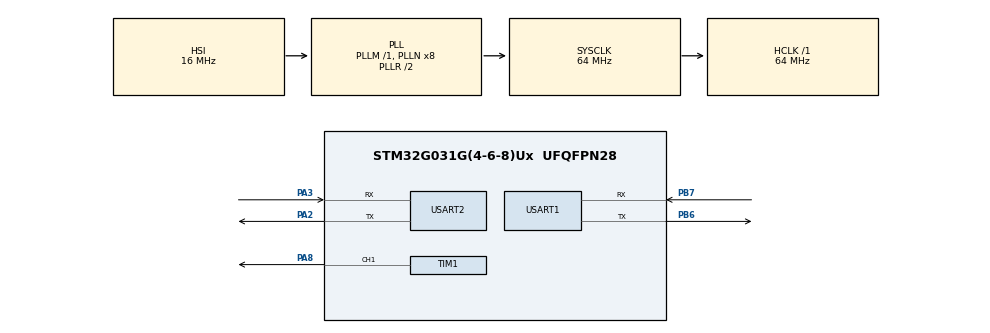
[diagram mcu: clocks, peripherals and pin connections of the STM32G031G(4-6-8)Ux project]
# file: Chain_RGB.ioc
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Dma.Request0=USART1_RX
Dma.Request1=USART1_TX
Dma.Request2=USART2_RX
Dma.Request3=USART2_TX
Dma.Request4=TIM1_CH1
Dma.TIM1_CH1.4.Direction=DMA_MEMORY_TO_PERIPH
Dma.TIM1_CH1.4.EventEnable=DISABLE
Dma.TIM1_CH1.4.Instance=DMA1_Channel5
Dma.TIM1_CH1.4.MemDataAlignment=DMA_MDATAALIGN_BYTE
Dma.TIM1_CH1.4.MemInc=DMA_MINC_ENABLE
Dma.TIM1_CH1.4.Mode=DMA_NORMAL
Dma.TIM1_CH1.4.PeriphDataAlignment=DMA_PDATAALIGN_HALFWORD
Dma.TIM1_CH1.4.PeriphInc=DMA_PINC_DISABLE
Dma.TIM1_CH1.4.Polarity=HAL_DMAMUX_REQ_GEN_RISING
Dma.TIM1_CH1.4.Priority=DMA_PRIORITY_LOW
Dma.TIM1_CH1.4.RequestNumber=1
Dma.TIM1_CH1.4.SignalID=NONE
Dma.TIM1_CH1.4.SyncEnable=DISABLE
Dma.TIM1_CH1.4.SyncPolarity=HAL_DMAMUX_SYNC_NO_EVENT
Dma.TIM1_CH1.4.SyncRequestNumber=1
Dma.TIM1_CH1.4.SyncSignalID=NONE
Dma.USART1_RX.0.Direction=DMA_PERIPH_TO_MEMORY
Dma.USART1_RX.0.EventEnable=DISABLE
Dma.USART1_RX.0.Instance=DMA1_Channel1
Dma.USART1_RX.0.MemDataAlignment=DMA_MDATAALIGN_BYTE
Dma.USART1_RX.0.MemInc=DMA_MINC_ENABLE
Dma.USART1_RX.0.Mode=DMA_NORMAL
Dma.USART1_RX.0.PeriphDataAlignment=DMA_PDATAALIGN_BYTE
Dma.USART1_RX.0.PeriphInc=DMA_PINC_DISABLE
Dma.USART1_RX.0.Polarity=HAL_DMAMUX_REQ_GEN_RISING
Dma.USART1_RX.0.Priority=DMA_PRIORITY_LOW
Dma.USART1_RX.0.RequestNumber=1
Dma.USART1_RX.0.SignalID=NONE
Dma.USART1_RX.0.SyncEnable=DISABLE
Dma.USART1_RX.0.SyncPolarity=HAL_DMAMUX_SYNC_NO_EVENT
Dma.USART1_RX.0.SyncRequestNumber=1
Dma.USART1_RX.0.SyncSignalID=NONE
Dma.USART1_TX.1.Direction=DMA_MEMORY_TO_PERIPH
Dma.USART1_TX.1.EventEnable=DISABLE
Dma.USART1_TX.1.Instance=DMA1_Channel2
Dma.USART1_TX.1.MemDataAlignment=DMA_MDATAALIGN_BYTE
Dma.USART1_TX.1.MemInc=DMA_MINC_ENABLE
Dma.USART1_TX.1.Mode=DMA_NORMAL
Dma.USART1_TX.1.PeriphDataAlignment=DMA_PDATAALIGN_BYTE
Dma.USART1_TX.1.PeriphInc=DMA_PINC_DISABLE
Dma.USART1_TX.1.Polarity=HAL_DMAMUX_REQ_GEN_RISING
Dma.USART1_TX.1.Priority=DMA_PRIORITY_LOW
Dma.USART1_TX.1.RequestNumber=1
Dma.USART1_TX.1.SignalID=NONE
Dma.USART1_TX.1.SyncEnable=DISABLE
Dma.USART1_TX.1.SyncPolarity=HAL_DMAMUX_SYNC_NO_EVENT
Dma.USART1_TX.1.SyncRequestNumber=1
Dma.USART1_TX.1.SyncSignalID=NONE
Dma.USART2_RX.2.Direction=DMA_PERIPH_TO_MEMORY
Dma.USART2_RX.2.EventEnable=DISABLE
Dma.USART2_RX.2.Instance=DMA1_Channel3
Dma.USART2_RX.2.MemDataAlignment=DMA_MDATAALIGN_BYTE
Dma.USART2_RX.2.MemInc=DMA_MINC_ENABLE
Dma.USART2_RX.2.Mode=DMA_NORMAL
Dma.USART2_RX.2.PeriphDataAlignment=DMA_PDATAALIGN_BYTE
Dma.USART2_RX.2.PeriphInc=DMA_PINC_DISABLE
Dma.USART2_RX.2.Polarity=HAL_DMAMUX_REQ_GEN_RISING
Dma.USART2_RX.2.Priority=DMA_PRIORITY_LOW
Dma.USART2_RX.2.RequestNumber=1
Dma.USART2_RX.2.SignalID=NONE
Dma.USART2_RX.2.SyncEnable=DISABLE
Dma.USART2_RX.2.SyncPolarity=HAL_DMAMUX_SYNC_NO_EVENT
Dma.USART2_RX.2.SyncRequestNumber=1
Dma.USART2_RX.2.SyncSignalID=NONE
Dma.USART2_TX.3.Direction=DMA_MEMORY_TO_PERIPH
Dma.USART2_TX.3.EventEnable=DISABLE
Dma.USART2_TX.3.Instance=DMA1_Channel4
Dma.USART2_TX.3.MemDataAlignment=DMA_MDATAALIGN_BYTE
Dma.USART2_TX.3.MemInc=DMA_MINC_ENABLE
Dma.USART2_TX.3.Mode=DMA_NORMAL
Dma.USART2_TX.3.PeriphDataAlignment=DMA_PDATAALIGN_BYTE
Dma.USART2_TX.3.PeriphInc=DMA_PINC_DISABLE
Dma.USART2_TX.3.Polarity=HAL_DMAMUX_REQ_GEN_RISING
Dma.USART2_TX.3.Priority=DMA_PRIORITY_LOW
Dma.USART2_TX.3.RequestNumber=1
Dma.USART2_TX.3.SignalID=NONE
Dma.USART2_TX.3.SyncEnable=DISABLE
Dma.USART2_TX.3.SyncPolarity=HAL_DMAMUX_SYNC_NO_EVENT
Dma.USART2_TX.3.SyncRequestNumber=1
Dma.USART2_TX.3.SyncSignalID=NONE
IWDG.Prescaler=IWDG_PRESCALER_16
Mcu.Family=STM32G0
Mcu.Name=STM32G031G(4-6-8)Ux
Mcu.Package=UFQFPN28
NVIC.DMA1_Ch4_5_DMAMUX1_OVR_IRQn=true\:1\:0\:true\:false\:true\:false\:true\:true
NVIC.DMA1_Channel1_IRQn=true\:1\:0\:true\:false\:true\:false\:true\:true
NVIC.DMA1_Channel2_3_IRQn=true\:1\:0\:true\:false\:true\:false\:true\:true
NVIC.FLASH_IRQn=true\:1\:0\:true\:false\:true\:true\:true\:true
NVIC.TIM14_IRQn=true\:1\:0\:true\:false\:true\:true\:true\:true
NVIC.TIM16_IRQn=true\:1\:0\:true\:false\:true\:true\:true\:true
NVIC.TIM17_IRQn=true\:1\:0\:true\:false\:true\:true\:true\:true
NVIC.USART1_IRQn=true\:0\:0\:false\:false\:true\:false\:true\:true
NVIC.USART2_IRQn=true\:0\:0\:false\:false\:true\:false\:true\:true
PA2.GPIO_PuPd=GPIO_PULLUP
PA2.GPIO_Speed=GPIO_SPEED_FREQ_HIGH
PA2.Mode=Asynchronous
PA2.PinState=GPIO_PIN_RESET
PA2.Signal=USART2_TX
PA3.GPIO_PuPd=GPIO_PULLUP
PA3.GPIO_Speed=GPIO_SPEED_FREQ_HIGH
PA3.Mode=Asynchronous
PA3.PinState=GPIO_PIN_RESET
PA3.Signal=USART2_RX
PA8.Signal=S_TIM1_CH1
PB6.GPIO_PuPd=GPIO_PULLUP
PB6.GPIO_Speed=GPIO_SPEED_FREQ_HIGH
PB6.Mode=Asynchronous
PB6.Signal=USART1_TX
PB7.GPIO_PuPd=GPIO_PULLUP
PB7.GPIO_Speed=GPIO_SPEED_FREQ_HIGH
PB7.Mode=Asynchronous
PB7.Signal=USART1_RX
ProjectManager.HeapSize=0x200
ProjectManager.StackSize=0x400
ProjectManager.TargetToolchain=STM32CubeIDE
RCC.ADCFreq_Value=64000000
RCC.AHBFreq_Value=64000000
RCC.CortexFreq_Value=64000000
RCC.EXTERNAL_CLOCK_VALUE=12288000
RCC.HCLKFreq_Value=64000000
RCC.HSE_VALUE=8000000
RCC.HSI_VALUE=16000000
RCC.LSE_VALUE=32768
RCC.PLLQ=RCC_PLLQ_DIV4
RCC.SYSCLKFreq_VALUE=64000000
RCC.SYSCLKSource=RCC_SYSCLKSOURCE_PLLCLK
RCC.VCOOutputFreq_Value=128000000
SH.S_TIM1_CH1.0=TIM1_CH1,PWM Generation1 CH1
TIM1.Channel-PWM\ Generation1\ CH1=TIM_CHANNEL_1
TIM1.Period=79
TIM14.AutoReloadPreload=TIM_AUTORELOAD_PRELOAD_ENABLE
TIM14.Period=1699
TIM14.Prescaler=6399
TIM16.Period=29999
TIM16.Prescaler=6399
TIM17.Period=9999
TIM17.Prescaler=6399
USART1.VirtualMode-Asynchronous=VM_ASYNC
USART2.VirtualMode-Asynchronous=VM_ASYNC
VP_IWDG_VS_IWDG.Mode=IWDG_Activate
VP_TIM14_VS_ClockSourceINT.Mode=Enable_Timer
VP_TIM16_VS_ClockSourceINT.Mode=Enable_Timer
VP_TIM17_VS_ClockSourceINT.Mode=Enable_Timer
VP_TIM1_VS_ClockSourceINT.Mode=Internal
board=custom

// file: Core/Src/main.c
/* USER CODE BEGIN Header */
/**
 ******************************************************************************
 * @file           : main.c
 * @brief          : Main program body
 ******************************************************************************
 * @attention
 *
 * Copyright (c) 2024 STMicroelectronics.
 * All rights reserved.
 *
 * This software is licensed under terms that can be found in the LICENSE file
 * in the root directory of this software component.
 * If no LICENSE file comes with this software, it is provided AS-IS.
 *
 ******************************************************************************
 */
/* USER CODE END Header */
#include "main.h"
#include "dma.h"
#include "iwdg.h"
#include "tim.h"
#include "usart.h"
#include "gpio.h"

/* USER CODE BEGIN Includes */
#include "base_function.h"
#include "rgb_function.h"
#include "myflash.h"

#include <stdint.h>
/* USER CODE END Includes */

/* USER CODE BEGIN PTD */

// RGB test states for state machine

/* USER CODE END PTD */

/* USER CODE BEGIN PV */
// DMA receive buffers
__IO uint8_t g_uart_in_rx_buf[UART_BUFFER_SIZE][BUFFER_SIZE];   // uart_in receive buffer for DMA
__IO uint8_t g_uart_out_rx_buf[UART_BUFFER_SIZE][BUFFER_SIZE];  // uart_out receive buffer for DMA

// Transmission status for UART
__IO uint8_t g_uart_in_rx_index  = 0;  // Index for UART input (receiving) buffer position
__IO uint8_t g_uart_out_rx_index = 0;  // Index for UART output (receiving) buffer position

// Transmission complete flags for UART
__IO uint8_t g_uart_in_transmit_complete  = 1;  // Flag indicating if uart_in transmission is complete (1: complete)
__IO uint8_t g_uart_out_transmit_complete = 1;  // Flag indicating if uart_out transmission is complete (1: complete)

// Command buffer and related variables
__IO uint8_t g_cmd_buf[BUFFER_SIZE] = {0};                    // Command buffer initialized to zero
__IO uint8_t g_cmd_size             = 0;                      // Size of the command currently in the buffer
__IO uint8_t g_cmd_status           = CMD_SPACE_IDLE_STATUS;  // Status of the command processing

// Device status variables
__IO uint8_t g_tail_status        = CHAIN_TAIL_DEVICE;  // Status of the tail device in the chain
__IO uint8_t g_heart_beat_record  = 0;                  // Heartbeat record for monitoring device status
__IO uint8_t g_bootloader_version = 0;                  // Version of the bootloader
__IO uint8_t g_firmware_version   = SOFTWARE_VERSION;   // Version of the firmware

// Device type information
__IO uint16_t g_device_type =
    (uint8_t)((PRODUCT_TYPE_HIGH << 8) | PRODUCT_TYPE_LOW);  // Combined product type from high and low bytes
__IO uint8_t g_light = 0;                                    // Light status or value

__IO static uint32_t s_last_press_time = 0;  // Store the last press time in milliseconds

__IO static uint8_t s_key_flag = 0;

__IO uint8_t g_uid[12] = {0};  // Unique identifier

uint32_t g_last_time = 0;
uint8_t g_delay_flag = 0;
uint32_t g_delay     = 0;
uint8_t g_next_step  = 0;
uint8_t now_step     = 1;

/* USER CODE END PV */

void SystemClock_Config(void);

/* USER CODE BEGIN 0 */
/**
 * @brief Set the Interrupt Vector Table for the application in SRAM.
 * @param None
 * @retval None
 */
void iap_set(void)
{
    uint8_t i;                                     // Loop index
    uint32_t *pVecTab = (uint32_t *)(0x20000000);  // Pointer to the vector table in SRAM

    // Copy the interrupt vector table from the application address to SRAM
    for (i = 0; i < 48; i++) {
        // Copy each vector entry to the SRAM vector table
        *(pVecTab++) = *(__IO uint32_t *)(APPLICATION_ADDRESS + (i << 2));
    }

    // Enable the SYSCFG peripheral clock
    __HAL_RCC_SYSCFG_CLK_ENABLE();

    // Remap the memory to use SRAM for the vector table
    __HAL_SYSCFG_REMAPMEMORY_SRAM();
}

/**
 * @brief Initialize the chain device settings.
 * @param None
 * @retval None
 */
void chain_init(void)
{
    // Get the version of the bootloader
    g_bootloader_version = get_bootloader_version();
    // Check if the screen rotation setting is set to maximum (0xFF)
    if (get_screen_rotation() == 0xFF) {
        // Set the rotation to a base value if it is maximum
        g_current_rotation = RGB_ROTATION_0;
        set_screen_rotation((uint8_t)g_current_rotation);
    } else {
        // Otherwise, get the current screen rotation setting
        g_current_rotation = get_screen_rotation();
    }
    // Check if the RGB light setting is set to maximum (0xFF)
    if (get_brightness_level() == 0xFF) {
        // Set the light to a base color if it is maximum
        g_light = RGB_LIGHT_BASE;
        set_brightness_level(g_light);
    } else {
        // Otherwise, get the current RGB light setting
        g_light = get_brightness_level();
    }
}

void read_uid(void)
{
    uint32_t uid0 = HAL_GetUIDw0();
    uint32_t uid1 = HAL_GetUIDw1();
    uint32_t uid2 = HAL_GetUIDw2();

    memcpy(&g_uid[0], &uid0, 4);
    memcpy(&g_uid[4], &uid1, 4);
    memcpy(&g_uid[8], &uid2, 4);
}

/* USER CODE END 0 */

int main(void)
{
    /* USER CODE BEGIN 1 */
    iap_set();
    chain_init();
    read_uid();
    /* USER CODE END 1 */

    /* MCU Configuration--------------------------------------------------------*/

    /* Reset of all peripherals, Initializes the Flash interface and the Systick. */
    HAL_Init();

    /* Configure the system clock */
    SystemClock_Config();

    /* Initialize all configured peripherals */
    MX_GPIO_Init();
    MX_DMA_Init();
    MX_USART1_UART_Init();
    MX_USART2_UART_Init();
    MX_IWDG_Init();
    MX_TIM14_Init();
    MX_TIM1_Init();
    MX_TIM16_Init();
    MX_TIM17_Init();
    /* USER CODE BEGIN 2 */
    chain_rgb_init();
    HAL_Delay(1);
    LL_TIM_ClearFlag_UPDATE(TIM14);  // Clear update TIM14
    LL_TIM_EnableIT_UPDATE(TIM14);   // ENABLE TIM14
    LL_TIM_EnableCounter(TIM14);     // ENABLE TIM14
    HAL_Delay(1);
    LL_TIM_ClearFlag_UPDATE(TIM17);  // Clear update TIM17
    LL_TIM_EnableIT_UPDATE(TIM17);   // ENABLE TIM17
    LL_TIM_EnableCounter(TIM17);     // ENABLE TIM17
    HAL_Delay(1);
    LL_TIM_ClearFlag_UPDATE(TIM16);  // Clear update TIM16
    LL_TIM_EnableIT_UPDATE(TIM16);   // ENABLE TIM16
    LL_TIM_EnableCounter(TIM16);     // ENABLE TIM16
    HAL_Delay(1);

    /* USER CODE END 2 */

    /* Infinite loop */
    /* USER CODE BEGIN WHILE */
    while (1) {
        if (g_cmd_status == CMD_SPACE_BUSY_STATUS) {
            switch (g_cmd_buf[0]) {
                case CHAIN_RGB_SET_MODE:
                    chain_rgb_set_mode_handle((uint8_t *)(g_cmd_buf + 1), (g_cmd_size - 1));
                    break;
                case CHAIN_RGB_GET_MODE:
                    chain_rgb_get_mode_handle();
                    break;
                case CHAIN_RGB_SET_PIXEL:
                    chain_rgb_set_pixel_handle((uint8_t *)(g_cmd_buf + 1), (g_cmd_size - 1));
                    break;
                case CHAIN_RGB_GET_PIXEL:
                    chain_rgb_get_pixel_handle((uint8_t *)(g_cmd_buf + 1), (g_cmd_size - 1));
                    break;
                case CHAIN_RGB_SET_DISPLAY_BUFFER:
                    chain_rgb_set_display_buffer_handle((uint8_t *)(g_cmd_buf + 1), (g_cmd_size - 1));
                    break;
                case CHAIN_RGB_GET_DISPLAY_BUFFER:
                    chain_rgb_get_display_buffer_handle();
                    break;
                case CHAIN_RGB_SET_ROTATION:
                    chain_rgb_set_rotation_handle((uint8_t *)(g_cmd_buf + 1), (g_cmd_size - 1));
                    break;
                case CHAIN_RGB_GET_ROTATION:
                    chain_rgb_get_rotation_handle();
                    break;
                case CHAIN_RGB_SET_BRIGHTNESS:
                    chain_rgb_set_brightness_handle((uint8_t *)(g_cmd_buf + 1), (g_cmd_size - 1));
                    break;
                case CHAIN_RGB_GET_BRIGHTNESS:
                    chain_rgb_get_brightness_handle();
                    break;
                case CHAIN_RGB_SET_SCROLL_TEXT:
                    chain_rgb_set_scroll_text_handle((uint8_t *)(g_cmd_buf + 1), (g_cmd_size - 1));
                    break;
                case CHAIN_RGB_GET_SCROLL_TEXT:
                    chain_rgb_get_scroll_text_handle();
                    break;
                case CHAIN_RGB_SET_SCROLL_TEXT_STATE:
                    chain_rgb_set_scroll_text_state_handle(g_cmd_buf[1]);
                    break;
                case CHAIN_RGB_GET_SCROLL_TEXT_STATE:
                    chain_rgb_get_scroll_text_state_handle();
                    break;
                case CHAIN_RGB_SET_CHAR:
                    chain_rgb_set_char_handle((uint8_t *)(g_cmd_buf + 1), (g_cmd_size - 1));
                    break;
                case CHAIN_RGB_CLEAR:
                    chain_rgb_clear_handle();
                    break;
                case CHAIN_GET_UID:
                    chain_get_uid_handle(g_cmd_buf[1]);
                    break;
                case CHAIN_GET_BOOTLOADER_VERSION:
                    chain_get_bootloader_version_handle();
                    break;
                case CHAIN_GET_VERSION_DEVICE:
                    chain_get_firmware_version_handle();
                    break;
                case CHAIN_GET_DEVICE_TYPE:
                    chain_get_device_type_handle();
                    break;
                case CHAIN_IAP_UPDATE:
                    chain_iap_update_handle(g_cmd_buf[1]);
                    break;
                default:
                    break;
            }
            g_cmd_status = CMD_SPACE_IDLE_STATUS;
        }
        /* USER CODE END WHILE */

        /* USER CODE BEGIN 3 */
        chain_rgb_scroll_text_update(HAL_GetTick());
        chain_rgb_update();
        LL_IWDG_ReloadCounter(IWDG);
    }
    /* USER CODE END 3 */
}

void SystemClock_Config(void)
{
    RCC_OscInitTypeDef RCC_OscInitStruct = {0};
    RCC_ClkInitTypeDef RCC_ClkInitStruct = {0};

    /** Configure the main internal regulator output voltage
     */
    HAL_PWREx_ControlVoltageScaling(PWR_REGULATOR_VOLTAGE_SCALE1);

    /** Initializes the RCC Oscillators according to the specified parameters
     * in the RCC_OscInitTypeDef structure.
     */
    RCC_OscInitStruct.OscillatorType      = RCC_OSCILLATORTYPE_HSI | RCC_OSCILLATORTYPE_LSI;
    RCC_OscInitStruct.HSIState            = RCC_HSI_ON;
    RCC_OscInitStruct.HSIDiv              = RCC_HSI_DIV1;
    RCC_OscInitStruct.HSICalibrationValue = RCC_HSICALIBRATION_DEFAULT;
    RCC_OscInitStruct.LSIState            = RCC_LSI_ON;
    RCC_OscInitStruct.PLL.PLLState        = RCC_PLL_ON;
    RCC_OscInitStruct.PLL.PLLSource       = RCC_PLLSOURCE_HSI;
    RCC_OscInitStruct.PLL.PLLM            = RCC_PLLM_DIV1;
    RCC_OscInitStruct.PLL.PLLN            = 8;
    RCC_OscInitStruct.PLL.PLLP            = RCC_PLLP_DIV2;
    RCC_OscInitStruct.PLL.PLLQ            = RCC_PLLQ_DIV4;
    RCC_OscInitStruct.PLL.PLLR            = RCC_PLLR_DIV2;
    if (HAL_RCC_OscConfig(&RCC_OscInitStruct) != HAL_OK) {
        Error_Handler();
    }

    /** Initializes the CPU, AHB and APB buses clocks
     */
    RCC_ClkInitStruct.ClockType      = RCC_CLOCKTYPE_HCLK | RCC_CLOCKTYPE_SYSCLK | RCC_CLOCKTYPE_PCLK1;
    RCC_ClkInitStruct.SYSCLKSource   = RCC_SYSCLKSOURCE_PLLCLK;
    RCC_ClkInitStruct.AHBCLKDivider  = RCC_SYSCLK_DIV1;
    RCC_ClkInitStruct.APB1CLKDivider = RCC_HCLK_DIV1;

    if (HAL_RCC_ClockConfig(&RCC_ClkInitStruct, FLASH_LATENCY_2) != HAL_OK) {
        Error_Handler();
    }
}

void Error_Handler(void)
{
    __disable_irq();
    while (1) {
    }
}

#ifdef USE_FULL_ASSERT
/**
 * @brief  Reports the name of the source file and the source line number
 *         where the assert_param error has occurred.
 * @param  file: pointer to the source file name
 * @param  line: assert_param error line source number
 * @retval None
 */
void assert_failed(uint8_t *file, uint32_t line)
{
    /* USER CODE BEGIN 6 */
    /* User can add his own implementation to report the file name and line
       number,
       ex: printf("Wrong parameters value: file %s on line %d\r\n", file, line) */
    /* USER CODE END 6 */
}
#endif /* USE_FULL_ASSERT */
